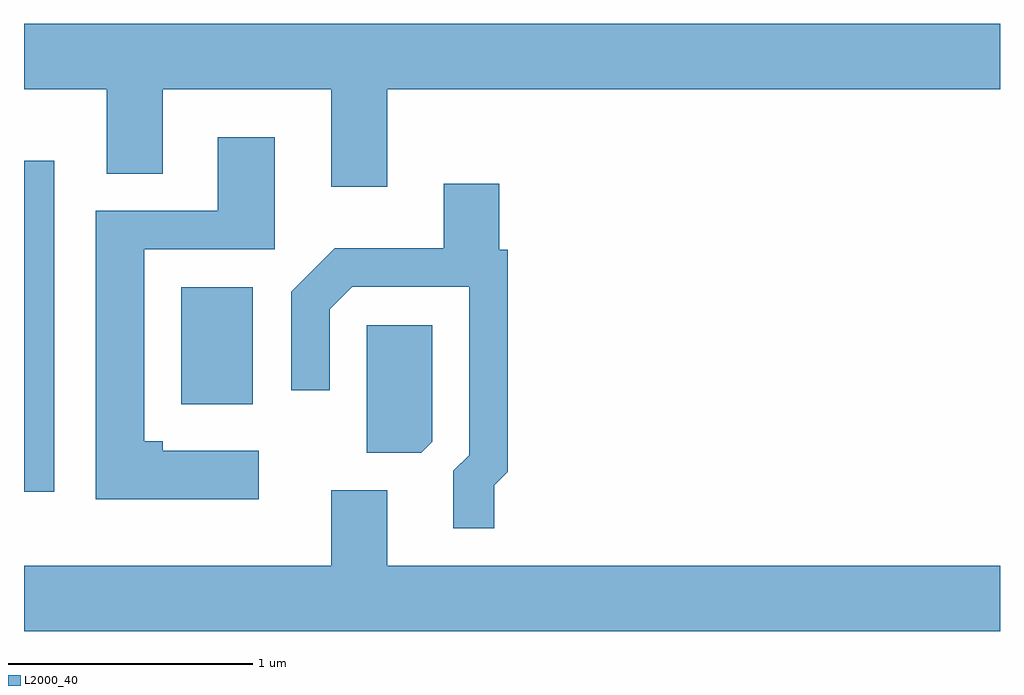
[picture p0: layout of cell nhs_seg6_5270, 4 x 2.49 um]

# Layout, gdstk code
import gdstk
lib = gdstk.Library(unit=1e-6, precision=1e-09)
def R(c, l, rs):  # rectangles x0, y0, x1, y1
    for r in rs: c.add(gdstk.rectangle(r[:2], r[2:], *l))
def P(c, l, *ps):  # polygons
    for p in ps: c.add(gdstk.Polygon(p, *l))
L2000_40 = (2000, 40)

nhs_seg6_5270 = lib.new_cell('nhs_seg6_5270')
R(nhs_seg6_5270, L2000_40, [(345.611,1606.106,345.734,1607.464), (346.256,1606.466,346.549,1606.944)])
P(nhs_seg6_5270, L2000_40, [(347.099,1607.756),(349.611,1607.756),(349.611,1608.024),(345.611,1608.024),(345.611,1607.756),(345.951,1607.756),(345.951,1607.411),(346.179,1607.411),(346.179,1607.756),(346.871,1607.756),(346.871,1607.356),(347.099,1607.356)],
  [(346.574,1606.274),(346.179,1606.274),(346.179,1606.314),(346.104,1606.314),(346.104,1607.101),(346.639,1607.101),(346.639,1607.559),(346.406,1607.559),(346.406,1607.259),(345.906,1607.259),(345.906,1606.076),(346.574,1606.076)],
  [(347.539,1606.134),(347.594,1606.189),(347.594,1607.099),(347.559,1607.099),(347.559,1607.369),(347.331,1607.369),(347.331,1607.104),(346.884,1607.104),(346.706,1606.927),(346.706,1606.523),(346.864,1606.523),(346.864,1606.854),(346.957,1606.946),(347.436,1606.946),(347.436,1606.257),(347.371,1606.192),(347.371,1605.958),(347.539,1605.958)],
  [(347.284,1606.312),(347.284,1606.789),(347.016,1606.789),(347.016,1606.266),(347.239,1606.266)],
  [(349.611,1605.804),(347.099,1605.804),(347.099,1606.114),(346.871,1606.114),(346.871,1605.804),(345.611,1605.804),(345.611,1605.536),(349.611,1605.536)])

lib.write_gds('nhs_seg6_5270.gds')
